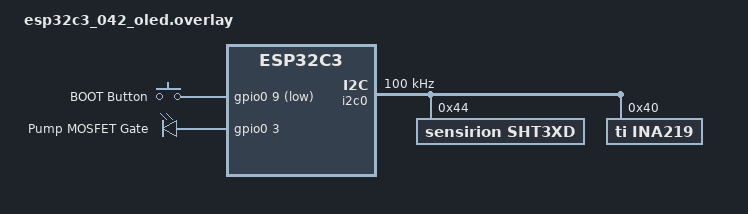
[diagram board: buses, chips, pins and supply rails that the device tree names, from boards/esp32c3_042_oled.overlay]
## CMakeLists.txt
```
# SPDX-License-Identifier: Apache-2.0

cmake_minimum_required(VERSION 3.20.0)

find_package(Zephyr REQUIRED HINTS $ENV{ZEPHYR_BASE})
project(oled_graphics_demo)

target_sources(app PRIVATE
    src/main.c
    src/ui.c
    src/sensor.c
    src/pump.c
)
```

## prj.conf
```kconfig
# Console output over USB Serial / JTAG CDC ACM
CONFIG_STDOUT_CONSOLE=y
CONFIG_LOG=y

# Heap memory for display buffer allocation
CONFIG_HEAP_MEM_POOL_SIZE=16384

# Display Subsystem & Drivers
CONFIG_DISPLAY=y
CONFIG_CHARACTER_FRAMEBUFFER=y
CONFIG_CFB_LOG_LEVEL_INF=y

# SSD1306 & I2C
CONFIG_SSD1306=y
CONFIG_I2C=y

# Sensor Subsystem
CONFIG_SENSOR=y
CONFIG_SHT3XD=y
CONFIG_SHT3XD_SINGLE_SHOT_MODE=y
CONFIG_INA219=y
CONFIG_CBPRINTF_FP_SUPPORT=y
```

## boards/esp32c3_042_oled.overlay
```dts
/*
 * Devicetree overlay for SHT3xD and INA219 sensors on I2C0,
 * BOOT button on GPIO 9, and Pump MOSFET gate on GPIO 3.
 *
 * SPDX-License-Identifier: Apache-2.0
 */

/ {
	aliases {
		sw0 = &boot_button;
		pump-gate = &pump_gate;
	};

	gpio_keys {
		compatible = "gpio-keys";
		boot_button: button_0 {
			label = "BOOT Button";
			gpios = <&gpio0 9 (GPIO_PULL_UP | GPIO_ACTIVE_LOW)>;
		};
	};

	pump_control {
		compatible = "gpio-leds";
		pump_gate: pump_gate_0 {
			label = "Pump MOSFET Gate";
			gpios = <&gpio0 3 GPIO_ACTIVE_HIGH>;
		};
	};
};

&i2c0 {
	clock-frequency = <I2C_BITRATE_STANDARD>;

	sht3xd: sht3xd@44 {
		compatible = "sensirion,sht3xd";
		reg = <0x44>;
		status = "okay";
	};

	ina219: ina219@40 {
		compatible = "ti,ina219";
		reg = <0x40>;
		status = "okay";
		brng = <0>;
		pg = <3>;
		sadc = <3>;
		badc = <3>;
		shunt-milliohm = <100>;
		lsb-microamp = <100>;
	};
};
```

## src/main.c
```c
/*
 * Main Application Coordinator for ESP32-C3 Pump Controller
 *
 * SPDX-License-Identifier: Apache-2.0
 */

#include <zephyr/drivers/i2c.h>
#include <zephyr/kernel.h>
#include <zephyr/logging/log.h>

#include "pump.h"
#include "sensor.h"
#include "ui.h"

LOG_MODULE_REGISTER (main, LOG_LEVEL_INF);

static K_SEM_DEFINE (refresh_sem, 0, 1);

static void pump_event_handler (bool is_on) {
    ARG_UNUSED (is_on);
    /* Wake main measurement loop immediately on pump state change */
    k_sem_give (&refresh_sem);
}

static void scan_i2c_bus (void) {
    const struct device* i2c_dev = DEVICE_DT_GET (DT_NODELABEL (i2c0));

    if (!device_is_ready (i2c_dev)) {
        LOG_ERR ("I2C0 device not ready!");
        return;
    }

    LOG_INF ("--- Scanning I2C bus (SDA: GPIO 5, SCL: GPIO 6) ---");
    int found = 0;
    for (uint8_t addr = 0x04; addr <= 0x77; addr++) {
        struct i2c_msg msg;
        uint8_t dummy = 0;

        msg.buf   = &dummy;
        msg.len   = 0U;
        msg.flags = I2C_MSG_WRITE | I2C_MSG_STOP;

        if (i2c_transfer (i2c_dev, &msg, 1, addr) == 0) {
            LOG_INF ("  [+] Found device at I2C address: 0x%02X", addr);
            found++;
        }
    }
    LOG_INF ("--- I2C scan finished. Devices found: %d ---", found);
}

int main (void) {
    int ret;
    struct env_reading env     = { 0 };
    struct power_reading pwr   = { 0 };
    uint32_t last_log_time     = 0;
    bool prev_pump_state       = false;

    LOG_INF ("Starting ESP32-C3 Pump Controller Application...");

    /* 1. Probe I2C bus to inspect connected devices */
    scan_i2c_bus ();

    /* 2. Initialize UI module */
    ret = ui_init ();
    if (ret < 0) {
        LOG_ERR ("UI initialization failed: %d", ret);
        return 0;
    }

    /* Brief splash screen */
    ui_demo_splash ();

    /* 3. Initialize SHT3x environmental sensor */
    ret = env_sensor_init ();
    if (ret < 0) {
        LOG_WRN ("Environment sensor (SHT3x) not ready (err: %d)", ret);
    }

    /* 4. Initialize INA219 power/current sensor */
    ret = power_sensor_init ();
    if (ret < 0) {
        LOG_WRN ("Power sensor (INA219) not ready (err: %d)", ret);
    }

    /* 5. Initialize Pump controller (GPIO 3 gate, GPIO 9 BOOT button) */
    ret = pump_init (pump_event_handler);
    if (ret < 0) {
        LOG_ERR ("Pump controller initialization failed (err: %d)", ret);
    }

    LOG_INF ("Entering continuous sensor measurement loop...");

    while (1) {
        /* Read sensors */
        ret = env_sensor_read (&env);
        if (ret < 0) {
            env.is_valid = false;
        }

        ret = power_sensor_read (&pwr);
        if (ret < 0) {
            pwr.is_valid = false;
        }

        bool current_pump_state = pump_is_on ();

        /* Trigger immediate log if pump state changed */
        if (current_pump_state != prev_pump_state) {
            prev_pump_state = current_pump_state;
            last_log_time   = 0;
        }

        /* Update OLED UI */
        ui_show_dashboard (&env, &pwr, current_pump_state, -1);

        /* Periodic serial log (every 1000 ms, or immediately upon state change) */
        uint32_t now = k_uptime_get_32 ();
        if ((now - last_log_time) >= 1000) {
            last_log_time = now;

            const char* pump_str = current_pump_state ? "ON" : "OFF";

            if (pwr.is_valid && env.is_valid) {
                LOG_INF ("PUMP: %3s | INA219: %d.%02d V | %4d mA | %4d mW  ||  SHT30: %d.%d C | %d.%d %%RH",
                         pump_str,
                         pwr.bus_voltage_mv / 1000,
                         (pwr.bus_voltage_mv % 1000) / 10,
                         pwr.current_ma,
                         pwr.power_mw,
                         env.temp_c_int, env.temp_c_dec,
                         env.hum_int, env.hum_dec);
            } else if (pwr.is_valid) {
                LOG_INF ("PUMP: %3s | INA219: %d.%02d V | %4d mA | %4d mW  ||  SHT30: [OFFLINE]",
                         pump_str,
                         pwr.bus_voltage_mv / 1000,
                         (pwr.bus_voltage_mv % 1000) / 10,
                         pwr.current_ma,
                         pwr.power_mw);
            } else if (env.is_valid) {
                LOG_INF ("PUMP: %3s | INA219: [OFFLINE]  ||  SHT30: %d.%d C | %d.%d %%RH",
                         pump_str,
                         env.temp_c_int, env.temp_c_dec,
                         env.hum_int, env.hum_dec);
            } else {
                LOG_WRN ("PUMP: %3s | All I2C sensors offline!", pump_str);
            }
        }

        /* Wait up to 1000 ms, or wake immediately if button toggles pump */
        k_sem_take (&refresh_sem, K_MSEC (1000));
    }

    return 0;
}
```

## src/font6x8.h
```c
/* SPDX-License-Identifier: Apache-2.0 */
#ifndef APP_FONT6X8_H_
#define APP_FONT6X8_H_

#include <zephyr/display/cfb.h>
#include <zephyr/kernel.h>

/* Standard 6x8 ASCII Font (5x7 glyph + 1px spacing) */
static const uint8_t cfb_font_0608[95][6] = {
    /* 32:   */
    { 0x00, 0x00, 0x00, 0x00, 0x00, 0x00 },
    /* 33: ! */
    { 0x00, 0x00, 0x5F, 0x00, 0x00, 0x00 },
    /* 34: " */
    { 0x00, 0x07, 0x00, 0x07, 0x00, 0x00 },
    /* 35: # */
    { 0x14, 0x7F, 0x14, 0x7F, 0x14, 0x00 },
    /* 36: $ */
    { 0x24, 0x2A, 0x7F, 0x2A, 0x12, 0x00 },
    /* 37: % */
    { 0x23, 0x13, 0x08, 0x64, 0x62, 0x00 },
    /* 38: & */
    { 0x36, 0x49, 0x55, 0x22, 0x50, 0x00 },
    /* 39: ' */
    { 0x00, 0x05, 0x03, 0x00, 0x00, 0x00 },
    /* 40: ( */
    { 0x00, 0x1C, 0x22, 0x41, 0x00, 0x00 },
    /* 41: ) */
    { 0x00, 0x41, 0x22, 0x1C, 0x00, 0x00 },
    /* 42: * */
    { 0x08, 0x2A, 0x1C, 0x2A, 0x08, 0x00 },
    /* 43: + */
    { 0x08, 0x08, 0x3E, 0x08, 0x08, 0x00 },
    /* 44: , */
    { 0x00, 0x50, 0x30, 0x00, 0x00, 0x00 },
    /* 45: - */
    { 0x08, 0x08, 0x08, 0x08, 0x08, 0x00 },
    /* 46: . */
    { 0x00, 0x60, 0x60, 0x00, 0x00, 0x00 },
    /* 47: / */
    { 0x20, 0x10, 0x08, 0x04, 0x02, 0x00 },
    /* 48: 0 */
    { 0x3E, 0x51, 0x49, 0x45, 0x3E, 0x00 },
    /* 49: 1 */
    { 0x00, 0x42, 0x7F, 0x40, 0x00, 0x00 },
    /* 50: 2 */
    { 0x42, 0x61, 0x51, 0x49, 0x46, 0x00 },
    /* 51: 3 */
    { 0x21, 0x41, 0x45, 0x4B, 0x31, 0x00 },
    /* 52: 4 */
    { 0x18, 0x14, 0x12, 0x7F, 0x10, 0x00 },
    /* 53: 5 */
    { 0x27, 0x45, 0x45, 0x45, 0x39, 0x00 },
    /* 54: 6 */
    { 0x3C, 0x4A, 0x49, 0x49, 0x30, 0x00 },
    /* 55: 7 */
    { 0x01, 0x71, 0x09, 0x05, 0x03, 0x00 },
    /* 56: 8 */
    { 0x36, 0x49, 0x49, 0x49, 0x36, 0x00 },
    /* 57: 9 */
    { 0x06, 0x49, 0x49, 0x29, 0x1E, 0x00 },
    /* 58: : */
    { 0x00, 0x36, 0x36, 0x00, 0x00, 0x00 },
    /* 59: ; */
    { 0x00, 0x56, 0x36, 0x00, 0x00, 0x00 },
    /* 60: < */
    { 0x00, 0x08, 0x14, 0x22, 0x41, 0x00 },
    /* 61: = */
    { 0x14, 0x14, 0x14, 0x14, 0x14, 0x00 },
    /* 62: > */
    { 0x41, 0x22, 0x14, 0x08, 0x00, 0x00 },
    /* 63: ? */
    { 0x02, 0x01, 0x51, 0x09, 0x06, 0x00 },
    /* 64: @ */
    { 0x32, 0x49, 0x79, 0x41, 0x3E, 0x00 },
    /* 65: A */
    { 0x7E, 0x11, 0x11, 0x11, 0x7E, 0x00 },
    /* 66: B */
    { 0x7F, 0x49, 0x49, 0x49, 0x36, 0x00 },
    /* 67: C */
    { 0x3E, 0x41, 0x41, 0x41, 0x22, 0x00 },
    /* 68: D */
    { 0x7F, 0x41, 0x41, 0x22, 0x1C, 0x00 },
    /* 69: E */
    { 0x7F, 0x49, 0x49, 0x49, 0x41, 0x00 },
    /* 70: F */
    { 0x7F, 0x09, 0x09, 0x01, 0x01, 0x00 },
    /* 71: G */
    { 0x3E, 0x41, 0x41, 0x51, 0x32, 0x00 },
    /* 72: H */
    { 0x7F, 0x08, 0x08, 0x08, 0x7F, 0x00 },
    /* 73: I */
    { 0x00, 0x41, 0x7F, 0x41, 0x00, 0x00 },
    /* 74: J */
    { 0x20, 0x40, 0x41, 0x3F, 0x01, 0x00 },
    /* 75: K */
    { 0x7F, 0x08, 0x14, 0x22, 0x41, 0x00 },
    /* 76: L */
    { 0x7F, 0x40, 0x40, 0x40, 0x40, 0x00 },
    /* 77: M */
    { 0x7F, 0x02, 0x04, 0x02, 0x7F, 0x00 },
    /* 78: N */
    { 0x7F, 0x04, 0x08, 0x10, 0x7F, 0x00 },
    /* 79: O */
    { 0x3E, 0x41, 0x41, 0x41, 0x3E, 0x00 },
    /* 80: P */
    { 0x7F, 0x09, 0x09, 0x09, 0x06, 0x00 },
    /* 81: Q */
    { 0x3E, 0x41, 0x51, 0x21, 0x5E, 0x00 },
    /* 82: R */
    { 0x7F, 0x09, 0x19, 0x29, 0x46, 0x00 },
    /* 83: S */
    { 0x46, 0x49, 0x49, 0x49, 0x31, 0x00 },
    /* 84: T */
    { 0x01, 0x01, 0x7F, 0x01, 0x01, 0x00 },
    /* 85: U */
    { 0x3F, 0x40, 0x40, 0x40, 0x3F, 0x00 },
    /* 86: V */
    { 0x1F, 0x20, 0x40, 0x20, 0x1F, 0x00 },
    /* 87: W */
    { 0x7F, 0x20, 0x18, 0x20, 0x7F, 0x00 },
    /* 88: X */
    { 0x63, 0x14, 0x08, 0x14, 0x63, 0x00 },
    /* 89: Y */
    { 0x03, 0x04, 0x78, 0x04, 0x03, 0x00 },
    /* 90: Z */
    { 0x61, 0x51, 0x49, 0x45, 0x43, 0x00 },
    /* 91: [ */
    { 0x00, 0x00, 0x7F, 0x41, 0x41, 0x00 },
    /* 92: \\ */
    { 0x02, 0x04, 0x08, 0x10, 0x20, 0x00 },
    /* 93: ] */
    { 0x41, 0x41, 0x7F, 0x00, 0x00, 0x00 },
    /* 94: ^ */
    { 0x04, 0x02, 0x01, 0x02, 0x04, 0x00 },
    /* 95: _ */
    { 0x40, 0x40, 0x40, 0x40, 0x40, 0x00 },
    /* 96: ` */
    { 0x00, 0x01, 0x02, 0x04, 0x00, 0x00 },
    /* 97: a */
    { 0x20, 0x54, 0x54, 0x54, 0x78, 0x00 },
    /* 98: b */
    { 0x7F, 0x48, 0x44, 0x44, 0x38, 0x00 },
    /* 99: c */
    { 0x38, 0x44, 0x44, 0x44, 0x20, 0x00 },
    /* 100: d */
    { 0x38, 0x44, 0x44, 0x48, 0x7F, 0x00 },
    /* 101: e */
    { 0x38, 0x54, 0x54, 0x54, 0x18, 0x00 },
    /* 102: f */
    { 0x08, 0x7E, 0x09, 0x01, 0x02, 0x00 },
    /* 103: g */
    { 0x08, 0x14, 0x54, 0x54, 0x3C, 0x00 },
    /* 104: h */
    { 0x7F, 0x08, 0x04, 0x04, 0x78, 0x00 },
    /* 105: i */
    { 0x00, 0x44, 0x7D, 0x40, 0x00, 0x00 },
    /* 106: j */
    { 0x20, 0x40, 0x44, 0x3D, 0x00, 0x00 },
    /* 107: k */
    { 0x00, 0x7F, 0x10, 0x28, 0x44, 0x00 },
    /* 108: l */
    { 0x00, 0x41, 0x7F, 0x40, 0x00, 0x00 },
    /* 109: m */
    { 0x7C, 0x04, 0x18, 0x04, 0x78, 0x00 },
    /* 110: n */
    { 0x7C, 0x08, 0x04, 0x04, 0x78, 0x00 },
    /* 111: o */
    { 0x38, 0x44, 0x44, 0x44, 0x38, 0x00 },
    /* 112: p */
    { 0x7C, 0x14, 0x14, 0x14, 0x08, 0x00 },
    /* 113: q */
    { 0x08, 0x14, 0x14, 0x18, 0x7C, 0x00 },
    /* 114: r */
    { 0x7C, 0x08, 0x04, 0x04, 0x08, 0x00 },
    /* 115: s */
    { 0x48, 0x54, 0x54, 0x54, 0x20, 0x00 },
    /* 116: t */
    { 0x04, 0x3F, 0x44, 0x40, 0x20, 0x00 },
    /* 117: u */
    { 0x3C, 0x40, 0x40, 0x20, 0x7C, 0x00 },
    /* 118: v */
    { 0x1C, 0x20, 0x40, 0x20, 0x1C, 0x00 },
    /* 119: w */
    { 0x3C, 0x40, 0x30, 0x40, 0x3C, 0x00 },
    /* 120: x */
    { 0x44, 0x28, 0x10, 0x28, 0x44, 0x00 },
    /* 121: y */
    { 0x0C, 0x50, 0x50, 0x50, 0x3C, 0x00 },
    /* 122: z */
    { 0x44, 0x64, 0x54, 0x4C, 0x44, 0x00 },
    /* 123: { */
    { 0x00, 0x08, 0x36, 0x41, 0x00, 0x00 },
    /* 124: | */
    { 0x00, 0x00, 0x7F, 0x00, 0x00, 0x00 },
    /* 125: } */
    { 0x00, 0x41, 0x36, 0x08, 0x00, 0x00 },
    /* 126: ~ */
    { 0x08, 0x08, 0x2A, 0x1C, 0x08, 0x00 },
};

FONT_ENTRY_DEFINE (font0608, 6, 8, CFB_FONT_MONO_VPACKED, cfb_font_0608, 32, 126);

#endif /* APP_FONT6X8_H_ */
```

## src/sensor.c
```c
/*
 * Sensor Module implementation for Sensirion SHT3x & TI INA219
 *
 * SPDX-License-Identifier: Apache-2.0
 */

#include "sensor.h"

#include <zephyr/device.h>
#include <zephyr/drivers/sensor.h>
#include <zephyr/kernel.h>
#include <zephyr/logging/log.h>

LOG_MODULE_REGISTER (sensor, LOG_LEVEL_INF);

static const struct device* sht3xd_dev = DEVICE_DT_GET_ANY (sensirion_sht3xd);
static const struct device* ina219_dev = DEVICE_DT_GET_ANY (ti_ina219);

/* --- SHT3x Environmental Sensor --- */

int env_sensor_init (void) {
    if (!sht3xd_dev) {
        LOG_ERR ("SHT3xD devicetree node not found!");
        return -ENODEV;
    }

    if (!device_is_ready (sht3xd_dev)) {
        LOG_ERR ("SHT3xD device %s is not ready!", sht3xd_dev->name);
        return -ENODEV;
    }

    LOG_INF ("SHT3xD device %s initialized and ready.", sht3xd_dev->name);
    return 0;
}

int env_sensor_read (struct env_reading* reading) {
    struct sensor_value temp, hum;
    int ret;

    if (!reading) {
        return -EINVAL;
    }

    reading->is_valid = false;

    if (!sht3xd_dev || !device_is_ready (sht3xd_dev)) {
        return -ENODEV;
    }

    ret = sensor_sample_fetch (sht3xd_dev);
    if (ret != 0) {
        LOG_ERR ("SHT3x sample_fetch failed: %d", ret);
        return ret;
    }

    ret = sensor_channel_get (sht3xd_dev, SENSOR_CHAN_AMBIENT_TEMP, &temp);
    if (ret != 0) {
        LOG_ERR ("SHT3x channel_get(TEMP) failed: %d", ret);
        return ret;
    }

    ret = sensor_channel_get (sht3xd_dev, SENSOR_CHAN_HUMIDITY, &hum);
    if (ret != 0) {
        LOG_ERR ("SHT3x channel_get(HUMIDITY) failed: %d", ret);
        return ret;
    }

    /* Convert to integer + 1-decimal-place fraction */
    reading->temp_c_int = temp.val1;
    reading->temp_c_dec = (temp.val2 < 0 ? -temp.val2 : temp.val2) / 100000;

    reading->hum_int = hum.val1;
    reading->hum_dec = (hum.val2 < 0 ? -hum.val2 : hum.val2) / 100000;

    reading->is_valid = true;
    return 0;
}

/* --- INA219 Current & Voltage Monitor --- */

int power_sensor_init (void) {
    if (!ina219_dev) {
        LOG_ERR ("INA219 devicetree node not found!");
        return -ENODEV;
    }

    if (!device_is_ready (ina219_dev)) {
        LOG_ERR ("INA219 device %s is not ready!", ina219_dev->name);
        return -ENODEV;
    }

    LOG_INF ("INA219 device %s initialized and ready.", ina219_dev->name);
    return 0;
}

int power_sensor_read (struct power_reading* reading) {
    struct sensor_value v_bus, i_bus, p_bus;
    int ret;

    if (!reading) {
        return -EINVAL;
    }

    reading->is_valid = false;

    if (!ina219_dev || !device_is_ready (ina219_dev)) {
        return -ENODEV;
    }

    ret = sensor_sample_fetch (ina219_dev);
    if (ret != 0) {
        k_msleep (10);
        ret = sensor_sample_fetch (ina219_dev);
        if (ret != 0) {
            LOG_ERR ("INA219 sample_fetch failed: %d", ret);
            return ret;
        }
    }

    ret = sensor_channel_get (ina219_dev, SENSOR_CHAN_VOLTAGE, &v_bus);
    if (ret != 0) {
        LOG_ERR ("INA219 channel_get(VOLTAGE) failed: %d", ret);
        return ret;
    }

    ret = sensor_channel_get (ina219_dev, SENSOR_CHAN_CURRENT, &i_bus);
    if (ret != 0) {
        LOG_ERR ("INA219 channel_get(CURRENT) failed: %d", ret);
        return ret;
    }

    ret = sensor_channel_get (ina219_dev, SENSOR_CHAN_POWER, &p_bus);
    if (ret != 0) {
        LOG_ERR ("INA219 channel_get(POWER) failed: %d", ret);
        return ret;
    }

    /* Bus voltage: Volts to millivolts */
    reading->bus_voltage_mv = (v_bus.val1 * 1000) + (v_bus.val2 / 1000);

    /* Current: Amperes to milliamps */
    reading->current_ma = (i_bus.val1 * 1000) + (i_bus.val2 / 1000);

    /* Power: Watts to milliwatts */
    reading->power_mw = (p_bus.val1 * 1000) + (p_bus.val2 / 1000);

    reading->is_valid = true;
    return 0;
}
```

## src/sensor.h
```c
/*
 * Sensor Module for Environmental (SHT3x) & Power Monitoring (INA219)
 *
 * SPDX-License-Identifier: Apache-2.0
 */

#ifndef APP_SENSOR_H_
#define APP_SENSOR_H_

#include <stdbool.h>
#include <stdint.h>

/**
 * @brief Environmental measurement data from SHT3x
 */
struct env_reading {
    int32_t temp_c_int; /* Degrees Celsius integer part */
    int32_t temp_c_dec; /* Degrees Celsius decimal tenths (0-9) */
    int32_t hum_int;    /* Relative Humidity integer % */
    int32_t hum_dec;    /* Relative Humidity decimal tenths (0-9) */
    bool is_valid;      /* True if reading was successful */
};

/**
 * @brief Power & current measurement data from INA219
 */
struct power_reading {
    int32_t bus_voltage_mv; /* Bus voltage in millivolts (e.g. 5040 = 5.04 V) */
    int32_t current_ma;     /* Current in milliamps (e.g. 23 mA) */
    int32_t power_mw;       /* Power in milliwatts (e.g. 115 mW) */
    bool is_valid;          /* True if reading was successful */
};

/**
 * @brief Initialize SHT3x environmental sensor.
 *
 * @return 0 on success, negative errno on failure.
 */
int env_sensor_init (void);

/**
 * @brief Read temperature and humidity from SHT3x.
 *
 * @param reading Pointer to env_reading struct to populate.
 * @return 0 on success, negative errno on failure.
 */
int env_sensor_read (struct env_reading* reading);

/**
 * @brief Initialize INA219 power and current sensor.
 *
 * @return 0 on success, negative errno on failure.
 */
int power_sensor_init (void);

/**
 * @brief Read bus voltage, current, and power from INA219.
 *
 * @param reading Pointer to power_reading struct to populate.
 * @return 0 on success, negative errno on failure.
 */
int power_sensor_read (struct power_reading* reading);

#endif /* APP_SENSOR_H_ */
```

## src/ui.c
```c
/*
 * UI Module for 01Space ESP32-C3 0.42" OLED (SSD1306 72x40)
 *
 * SPDX-License-Identifier: Apache-2.0
 */

#include "ui.h"

#include <stdio.h>
#include <zephyr/device.h>
#include <zephyr/display/cfb.h>
#include <zephyr/kernel.h>
#include <zephyr/logging/log.h>

#include "font6x8.h"

LOG_MODULE_REGISTER (ui, LOG_LEVEL_INF);

#define DISPLAY_NODE DT_CHOSEN (zephyr_display)

static const struct device* display_dev = DEVICE_DT_GET (DISPLAY_NODE);

static uint16_t x_res;
static uint16_t y_res;
static int font_small_idx = -1;
static int font_large_idx = -1;

/* Helper to draw a filled box using inversion */
static void
draw_filled_box (const struct device* dev, int16_t x, int16_t y, int16_t w, int16_t h) {
    cfb_invert_area (dev, x, y, w, h);
}

/* Scene 1: Welcome & Splash Screen */
void ui_demo_splash (void) {
    LOG_INF ("[Scene 1] Splash Screen");

    cfb_framebuffer_clear (display_dev, false);

    /* Outer frame border */
    struct cfb_position p1 = { 0, 0 };
    struct cfb_position p2 = { x_res - 1, y_res - 1 };
    cfb_draw_rect (display_dev, &p1, &p2);

    /* Banner text */
    if (font_large_idx >= 0) {
        cfb_framebuffer_set_font (display_dev, font_large_idx);
        cfb_draw_text (display_dev, "NIDIA", 6, 4);
    }

    if (font_small_idx >= 0) {
        cfb_framebuffer_set_font (display_dev, font_small_idx);
        cfb_draw_text (display_dev, "ESP32-C3 OLED", 4, 26);
    }

    cfb_framebuffer_finalize (display_dev);
    k_sleep (K_MSEC (2500));
}

/* Scene 2: Expanding Nested Boxes & Frames */
void ui_demo_boxes (void) {
    LOG_INF ("[Scene 2] Boxes and Frames");

    for (int step = 0; step < 8; step++) {
        cfb_framebuffer_clear (display_dev, false);

        int16_t margin         = step * 2;
        struct cfb_position tl = { margin, margin };
        struct cfb_position br = { x_res - 1 - margin, y_res - 1 - margin };
        cfb_draw_rect (display_dev, &tl, &br);

        /* Inner solid box */
        if (step > 2) {
            draw_filled_box (display_dev, (x_res / 2) - 6, (y_res / 2) - 4, 12, 8);
        }

        if (font_small_idx >= 0) {
            cfb_framebuffer_set_font (display_dev, font_small_idx);
            cfb_draw_text (display_dev, "FERNANDEZ", 12, 2);
        }

        cfb_framebuffer_finalize (display_dev);
        k_sleep (K_MSEC (200));
    }
    k_sleep (K_MSEC (1000));
}

/* Scene 3: Concentric Circles */
void ui_demo_circles (void) {
    LOG_INF ("[Scene 3] Concentric Circles");

    struct cfb_position center = { x_res / 2, y_res / 2 };

    for (int max_r = 4; max_r <= 18; max_r += 3) {
        cfb_framebuffer_clear (display_dev, false);

        for (int r = 3; r <= max_r; r += 4) {
            cfb_draw_circle (display_dev, &center, r);
        }

        if (font_small_idx >= 0) {
            cfb_framebuffer_set_font (display_dev, font_small_idx);
            cfb_draw_text (display_dev, "ROS", 16, 1);
        }

        cfb_framebuffer_finalize (display_dev);
        k_sleep (K_MSEC (250));
    }
    k_sleep (K_MSEC (1200));
}

/* Scene 4: Fan & Grid Lines */
void ui_demo_lines (void) {
    LOG_INF ("[Scene 4] Fan Lines");

    for (int i = 0; i <= x_res; i += 12) {
        cfb_framebuffer_clear (display_dev, false);

        struct cfb_position top    = { i, 0 };
        struct cfb_position bot    = { x_res - i, y_res - 1 };
        struct cfb_position origin = { 0, y_res - 1 };

        cfb_draw_line (display_dev, &origin, &top);
        cfb_draw_line (display_dev, &origin, &bot);

        struct cfb_position corner_r = { x_res - 1, 0 };
        cfb_draw_line (display_dev, &corner_r, &bot);

        if (font_small_idx >= 0) {
            cfb_framebuffer_set_font (display_dev, font_small_idx);
            cfb_draw_text (display_dev, "LA", 38, 2);
        }

        cfb_framebuffer_finalize (display_dev);
        k_sleep (K_MSEC (150));
    }
    k_sleep (K_MSEC (800));
}

/* Scene 5: Live Stats and Multi-line Text */
void ui_demo_text_stats (void) {
    LOG_INF ("[Scene 5] Text and System Stats");

    if (font_small_idx < 0) {
        return;
    }

    cfb_framebuffer_set_font (display_dev, font_small_idx);

    for (int count = 0; count < 10; count++) {
        cfb_framebuffer_clear (display_dev, false);

        uint32_t uptime_sec = (uint32_t)(k_uptime_get () / 1000);

        char buf[20];
        cfb_draw_text (display_dev, "ESP32-C3", 2, 1);
        cfb_draw_text (display_dev, "72x40 OLED", 2, 11);

        snprintf (buf, sizeof (buf), "Uptime: %us", uptime_sec);
        cfb_draw_text (display_dev, buf, 2, 21);

        snprintf (buf, sizeof (buf), "Tick: %d", count);
        cfb_draw_text (display_dev, buf, 2, 31);

        /* Right decorative vertical bar */
        struct cfb_position p1 = { x_res - 3, 0 };
        struct cfb_position p2 = { x_res - 3, y_res - 1 };
        cfb_draw_line (display_dev, &p1, &p2);

        cfb_framebuffer_finalize (display_dev);
        k_sleep (K_MSEC (300));
    }
}

/* Scene 6: Inversion & Split Screen */
void ui_demo_inversion (void) {
    LOG_INF ("[Scene 6] Invert Modes");

    cfb_framebuffer_clear (display_dev, false);

    if (font_small_idx >= 0) {
        cfb_framebuffer_set_font (display_dev, font_small_idx);
        cfb_draw_text (display_dev, "LA", 18, 4);
        cfb_draw_text (display_dev, "BESTIA", 24, 18);
    }

    /* Half-screen inverted block */
    draw_filled_box (display_dev, 0, 28, x_res, 12);
    cfb_framebuffer_finalize (display_dev);
    k_sleep (K_MSEC (1000));

    /* Invert entire display */
    cfb_framebuffer_invert (display_dev);
    cfb_framebuffer_finalize (display_dev);
    k_sleep (K_MSEC (800));

    /* Revert back */
    cfb_framebuffer_invert (display_dev);
    cfb_framebuffer_finalize (display_dev);
    k_sleep (K_MSEC (400));
}

/* Scene 7: Real-time Bouncing Box Screensaver */
void ui_demo_bouncing_box (void) {
    LOG_INF ("[Scene 7] Bouncing Box Screensaver");

    int16_t box_size = 8;
    int16_t x = 4, y = 4;
    int16_t dx = 2, dy = 1;

    for (int frame = 0; frame < 60; frame++) {
        cfb_framebuffer_clear (display_dev, false);

        /* Draw bouncing filled box */
        draw_filled_box (display_dev, x, y, box_size, box_size);

        /* Draw screen border */
        struct cfb_position tl = { 0, 0 };
        struct cfb_position br = { x_res - 1, y_res - 1 };
        cfb_draw_rect (display_dev, &tl, &br);

        /* Update position */
        x += dx;
        y += dy;

        if (x <= 1 || (x + box_size) >= (x_res - 1)) {
            dx = -dx;
        }
        if (y <= 1 || (y + box_size) >= (y_res - 1)) {
            dy = -dy;
        }

        cfb_framebuffer_finalize (display_dev);
        k_sleep (K_MSEC (40)); /* ~25 fps */
    }
}

void ui_run_demo_cycle (void) {
    ui_demo_splash ();
    ui_demo_boxes ();
    ui_demo_circles ();
    ui_demo_lines ();
    ui_demo_inversion ();
    ui_demo_bouncing_box ();
    ui_demo_text_stats ();
}

void ui_show_distance (int32_t distance_mm, bool is_valid) {
    cfb_framebuffer_clear (display_dev, false);

    /* 1. Header (6x8 font): "DISTANCE" centered */
    if (font_small_idx >= 0) {
        cfb_framebuffer_set_font (display_dev, font_small_idx);
        cfb_draw_text (display_dev, "DISTANCE", 12, 1);
    }

    /* Divider line below header */
    struct cfb_position d1 = { 0, 10 };
    struct cfb_position d2 = { x_res - 1, 10 };
    cfb_draw_line (display_dev, &d1, &d2);

    /* 2. Middle Value Readout */
    char val_str[16];
    if (is_valid) {
        snprintf (val_str, sizeof (val_str), "%d mm", (int)distance_mm);
    } else {
        snprintf (val_str, sizeof (val_str), "--- mm");
    }

    if (font_large_idx >= 0) {
        cfb_framebuffer_set_font (display_dev, font_large_idx);
        int16_t len   = (int16_t)strlen (val_str);
        int16_t x_pos = (x_res - len * 10) / 2;
        if (x_pos < 0) {
            x_pos = 0;
        }
        cfb_draw_text (display_dev, val_str, x_pos, 13);
    } else if (font_small_idx >= 0) {
        cfb_framebuffer_set_font (display_dev, font_small_idx);
        cfb_draw_text (display_dev, val_str, 16, 15);
    }

    /* 3. Bottom Distance Gauge Bar (0 - 1000 mm scale) */
    struct cfb_position g_tl = { 3, 31 };
    struct cfb_position g_br = { x_res - 4, 38 };
    cfb_draw_rect (display_dev, &g_tl, &g_br);

    if (is_valid && distance_mm > 0) {
        int32_t bar_w = (distance_mm * (x_res - 8)) / 1000;
        if (bar_w > (x_res - 8)) {
            bar_w = x_res - 8;
        }
        if (bar_w < 1) {
            bar_w = 1;
        }
        draw_filled_box (display_dev, 4, 32, (int16_t)bar_w, 6);
    }

    cfb_framebuffer_finalize (display_dev);
}

void ui_show_env (int32_t temp_int, int32_t temp_dec, int32_t hum_int, int32_t hum_dec, bool is_valid) {
    cfb_framebuffer_clear (display_dev, false);

    /* 1. Header (6x8 font): "ENV SENSOR" centered at y = 1 */
    if (font_small_idx >= 0) {
        cfb_framebuffer_set_font (display_dev, font_small_idx);
        cfb_draw_text (display_dev, "ENV SENSOR", 6, 1);
    }

    /* Divider line below header */
    struct cfb_position d1 = { 0, 10 };
    struct cfb_position d2 = { x_res - 1, 10 };
    cfb_draw_line (display_dev, &d1, &d2);

    /* 2. Middle Value Readouts */
    char t_str[16];
    char h_str[16];
    if (is_valid) {
        snprintf (t_str, sizeof (t_str), "T: %2d.%d C", (int)temp_int, (int)temp_dec);
        snprintf (h_str, sizeof (h_str), "H: %2d.%d %%", (int)hum_int, (int)hum_dec);
    } else {
        snprintf (t_str, sizeof (t_str), "T: --.- C");
        snprintf (h_str, sizeof (h_str), "H: --.- %%");
    }

    if (font_small_idx >= 0) {
        cfb_framebuffer_set_font (display_dev, font_small_idx);
        cfb_draw_text (display_dev, t_str, 6, 13);
        cfb_draw_text (display_dev, h_str, 6, 22);
    }

    /* 3. Bottom Humidity Bar (0 - 100% scale) */
    struct cfb_position g_tl = { 3, 32 };
    struct cfb_position g_br = { x_res - 4, 38 };
    cfb_draw_rect (display_dev, &g_tl, &g_br);

    if (is_valid && hum_int > 0) {
        int32_t max_bar_w = x_res - 8;
        int32_t bar_w = (hum_int * max_bar_w) / 100;
        if (bar_w > max_bar_w) {
            bar_w = max_bar_w;
        }
        if (bar_w < 1) {
            bar_w = 1;
        }
        draw_filled_box (display_dev, 4, 33, (int16_t)bar_w, 5);
    }

    cfb_framebuffer_finalize (display_dev);
}

void ui_show_dashboard (const struct env_reading* env, const struct power_reading* pwr, bool pump_on, int32_t distance_mm) {
    cfb_framebuffer_clear (display_dev, false);

    /* Line 0 (y = 1): Environmental summary: " 24.8C 46% " (11 chars) */
    char env_str[16];
    if (env && env->is_valid) {
        snprintf (env_str, sizeof (env_str), " %2d.%dC %2d%% ",
                  (int)env->temp_c_int, (int)env->temp_c_dec,
                  (int)env->hum_int);
    } else {
        snprintf (env_str, sizeof (env_str), " --.-C --%% ");
    }

    if (font_small_idx >= 0) {
        cfb_framebuffer_set_font (display_dev, font_small_idx);
        cfb_draw_text (display_dev, env_str, 3, 1);
    }

    /* Divider line below header */
    struct cfb_position d1 = { 0, 10 };
    struct cfb_position d2 = { x_res - 1, 10 };
    cfb_draw_line (display_dev, &d1, &d2);

    /* Line 1 (y = 12): Voltage & Current merged: "4.42V   4mA" / "4.42V 1.50A" (11 chars) */
    char pwr_str[32];
    if (pwr && pwr->is_valid) {
        int v_volts = pwr->bus_voltage_mv / 1000;
        int v_cents = (pwr->bus_voltage_mv % 1000) / 10;
        if (v_cents < 0) {
            v_cents = -v_cents;
        }

        if (pwr->current_ma >= 1000 || pwr->current_ma <= -1000) {
            int i_amps = pwr->current_ma / 1000;
            int i_cents = (pwr->current_ma % 1000) / 10;
            if (i_cents < 0) {
                i_cents = -i_cents;
            }
            snprintf (pwr_str, sizeof (pwr_str), "%d.%02dV %d.%02dA", v_volts, v_cents, i_amps, i_cents);
        } else {
            snprintf (pwr_str, sizeof (pwr_str), "%d.%02dV %3dmA", v_volts, v_cents, (int)pwr->current_ma);
        }
    } else {
        snprintf (pwr_str, sizeof (pwr_str), "--.--V  ---mA");
    }

    /* Line 2 (y = 21): Pump State: " PUMP:  OFF " / " PUMP:   ON " (11 chars) */
    char pump_str[16];
    snprintf (pump_str, sizeof (pump_str), pump_on ? " PUMP:   ON " : " PUMP:  OFF ");

    /* Line 3 (y = 30): Distance: "DIST:  ---mm" / "DIST: %4dmm" (11 chars) */
    char dist_str[32];
    if (distance_mm >= 0) {
        snprintf (dist_str, sizeof (dist_str), "DIST: %4dmm", (int)distance_mm);
    } else {
        snprintf (dist_str, sizeof (dist_str), "DIST:  ---mm");
    }

    if (font_small_idx >= 0) {
        cfb_framebuffer_set_font (display_dev, font_small_idx);
        cfb_draw_text (display_dev, pwr_str, 3, 12);
        cfb_draw_text (display_dev, pump_str, 3, 21);
        cfb_draw_text (display_dev, dist_str, 3, 30);
    }

    cfb_framebuffer_finalize (display_dev);
}

int ui_init (void) {
    int ret;

    LOG_INF ("Initializing 01Space ESP32-C3 0.42\" OLED UI...");

    if (!device_is_ready (display_dev)) {
        LOG_ERR ("Display device %s is not ready!", display_dev->name);
        return -ENODEV;
    }

    LOG_INF ("Display device %s is ready", display_dev->name);

    /* Set monochrome pixel format (MONO10 or MONO01) */
    ret = display_set_pixel_format (display_dev, PIXEL_FORMAT_MONO10);
    if (ret != 0) {
        ret = display_set_pixel_format (display_dev, PIXEL_FORMAT_MONO01);
        if (ret != 0) {
            LOG_ERR ("Failed to set pixel format: %d", ret);
            return ret;
        }
    }

    /* Initialize Character Framebuffer (CFB) */
    ret = cfb_framebuffer_init (display_dev);
    if (ret != 0) {
        LOG_ERR ("CFB initialization failed: %d", ret);
        return ret;
    }

    cfb_framebuffer_clear (display_dev, true);
    display_blanking_off (display_dev);

    x_res = cfb_get_display_parameter (display_dev, CFB_DISPLAY_WIDTH);
    y_res = cfb_get_display_parameter (display_dev, CFB_DISPLAY_HEIGHT);
    LOG_INF ("Display initialized: %d x %d pixels", x_res, y_res);

    /* Discover registered fonts */
    int num_fonts = cfb_get_numof_fonts (display_dev);
    LOG_INF ("Found %d registered fonts:", num_fonts);

    for (int idx = 0; idx < num_fonts; idx++) {
        uint8_t fw, fh;
        if (cfb_get_font_size (display_dev, idx, &fw, &fh) == 0) {
            LOG_INF ("  Font [%d]: %dx%d pixels", idx, fw, fh);
            if (fw <= 8 && fh <= 10) {
                font_small_idx = idx;
            } else if (fw <= 12 && fh <= 16) {
                font_large_idx = idx;
            }
        }
    }

    /* Fallback if needed */
    if (font_small_idx < 0) {
        font_small_idx = 0;
    }
    if (font_large_idx < 0) {
        font_large_idx = 0;
    }

    LOG_INF ("Selected Small Font: %d, Large Font: %d", font_small_idx, font_large_idx);

    return 0;
}
```

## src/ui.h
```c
/*
 * UI Module for 01Space ESP32-C3 0.42" OLED (SSD1306 72x40)
 *
 * SPDX-License-Identifier: Apache-2.0
 */

#ifndef APP_UI_H_
#define APP_UI_H_

#include "sensor.h"
#include <stdbool.h>
#include <stdint.h>

/**
 * @brief Initialize display and character framebuffer.
 *
 * @return 0 on success, negative errno on failure.
 */
int ui_init (void);

/**
 * @brief Run one full cycle of the showcase demo scenes.
 */
void ui_run_demo_cycle (void);

/* Individual demo scenes */
void ui_demo_splash (void);
void ui_demo_boxes (void);
void ui_demo_circles (void);
void ui_demo_lines (void);
void ui_demo_inversion (void);
void ui_demo_bouncing_box (void);
void ui_demo_text_stats (void);

/**
 * @brief Display the measured distance dashboard on OLED.
 *
 * @param distance_mm Measured distance in millimeters.
 * @param is_valid True if distance measurement is valid.
 */
void ui_show_distance (int32_t distance_mm, bool is_valid);

/**
 * @brief Display temperature and humidity environment dashboard on OLED.
 *
 * @param temp_int Temperature integer part in °C
 * @param temp_dec Temperature decimal tenths (0-9)
 * @param hum_int Relative Humidity integer %
 * @param hum_dec Relative Humidity decimal tenths (0-9)
 * @param is_valid True if sensor reading is valid
 */
void ui_show_env (int32_t temp_int, int32_t temp_dec, int32_t hum_int, int32_t hum_dec, bool is_valid);

/**
 * @brief Display unified dashboard with environment, merged power metrics, pump state, and distance.
 *
 * @param env Pointer to env_reading struct (or NULL)
 * @param pwr Pointer to power_reading struct (or NULL)
 * @param pump_on Current state of the pump (true if ON, false if OFF)
 * @param distance_mm Measured distance in mm, or negative if not available
 */
void ui_show_dashboard (const struct env_reading* env, const struct power_reading* pwr, bool pump_on, int32_t distance_mm);

#endif /* APP_UI_H_ */
```
